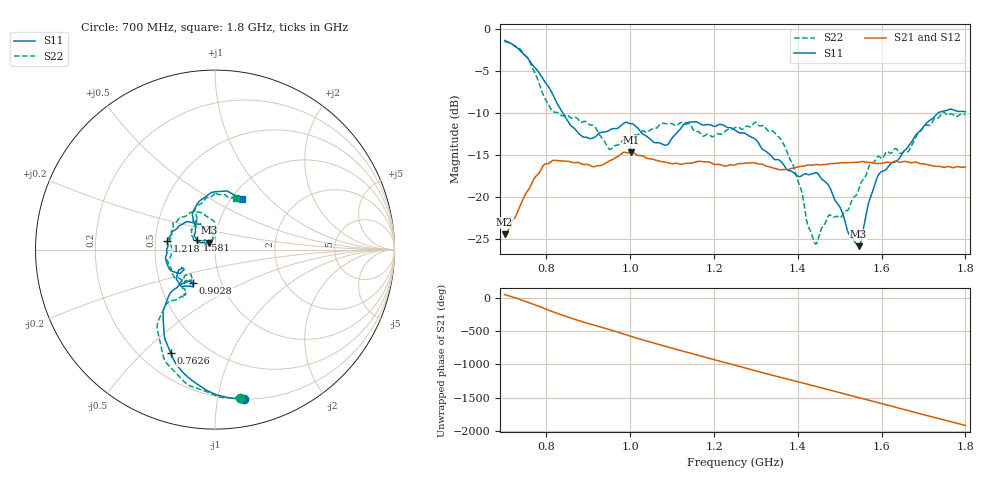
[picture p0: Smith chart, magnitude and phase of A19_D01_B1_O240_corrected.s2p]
! Created with skrf 1.9.0 (http://scikit-rf.org).
# Hz S RI R 50.0
!freq ReS11 ImS11 ReS21 ImS21 ReS12 ImS12 ReS22 ImS22
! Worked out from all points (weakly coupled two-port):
!   1601 points, 700 MHz to 1.8 GHz, reference 50 ohm
!   highest |S21| = -14.66 dB at 1.002 GHz (marker M1); lowest = -24.4 dB at 700 MHz (marker M2)
!   lowest |S11| = -25.8 dB at 1.545 GHz (marker M3), VSWR 1.11, Z = 46.7 + j3.7 ohm
!   |S11| at or under -10 dB: 838.7 MHz to 1.735 GHz (896.6 MHz wide, 69.7 % of centre)
!   |S22| runs from -25.6 to -1.5 dB; largest |S21 - S12| = 0.0036
!   S11 on the Smith chart (normalised r, x): 700 MHz: 0.20, -1.19; 762.6 MHz: 0.32, -0.61; 902.8 MHz: 0.73, -0.29; 1.218 GHz: 0.58, +0.06; 1.581 GHz: 0.81, +0.09; 1.8 GHz: 1.12, +0.70
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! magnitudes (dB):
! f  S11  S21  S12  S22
! 700 MHz  -1.4  -24.4  -24.2  -1.5
! 762.6 MHz  -4.0  -18.6  -18.6  -4.2
! 812.8 MHz  -7.6  -15.7  -15.7  -9.7
! 883.6 MHz  -12.7  -16.0  -15.9  -11.1
! 902.8 MHz  -13.1  -16.2  -16.2  -11.4
! 950.9 MHz  -12.0  -15.7  -15.7  -14.3
! 1.002 GHz  -11.3  -14.7  -14.8  -12.9
! 1.067 GHz  -13.5  -15.7  -15.6  -11.6
! 1.137 GHz  -11.1  -16.0  -16.0  -11.3
! 1.218 GHz  -11.4  -16.2  -16.2  -12.5
! 1.25 GHz  -12.1  -16.2  -16.1  -11.8
! 1.36 GHz  -15.8  -16.7  -16.7  -13.2
! 1.392 GHz  -17.2  -16.5  -16.5  -16.7
! 1.434 GHz  -17.2  -16.2  -16.2  -24.5
! 1.445 GHz  -17.1  -16.1  -16.2  -25.5
! 1.473 GHz  -18.6  -16.1  -16.1  -22.2
! 1.545 GHz  -25.8  -15.9  -15.8  -19.2
! 1.581 GHz  -19.0  -16.0  -16.0  -15.9
! 1.617 GHz  -16.3  -15.9  -15.8  -14.7
! 1.663 GHz  -14.1  -15.8  -15.8  -14.6
! 1.735 GHz  -10.0  -16.3  -16.4  -10.6
! 1.8 GHz  -9.9  -16.4  -16.4  -10.2
